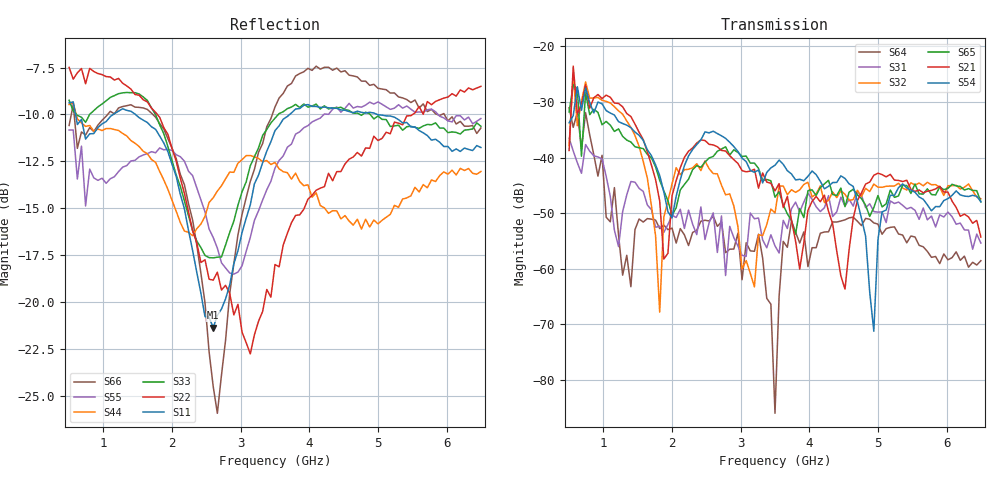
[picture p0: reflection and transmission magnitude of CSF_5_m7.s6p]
!Keysight Technologies,M9804A,MY58100912,A.14.10.03
!Date: Thursday, April 27, 2023 10:28:33
!Correction: S11(C  6-Port  )
!S12(C  6-Port  )
!S13(C  6-Port  )
!S14(C  6-Port  )
!S15(C  6-Port  )
!S16(C  6-Port  )
!S21(C  6-Port  )
!S22(C  6-Port  )
!S23(C  6-Port  )
!S24(C  6-Port  )
!S25(C  6-Port  )
!S26(C  6-Port  )
!S31(C  6-Port  )
!S32(C  6-Port  )
!S33(C  6-Port  )
!S34(C  6-Port  )
!S35(C  6-Port  )
!S36(C  6-Port  )
!S41(C  6-Port  )
!S42(C  6-Port  )
!S43(C  6-Port  )
!S44(C  6-Port  )
!S45(C  6-Port  )
!S46(C  6-Port  )
!S51(C  6-Port  )
!S52(C  6-Port  )
!S53(C  6-Port  )
!S54(C  6-Port  )
!S55(C  6-Port  )
!S56(C  6-Port  )
!S61(C  6-Port  )
!S62(C  6-Port  )
!S63(C  6-Port  )
!S64(C  6-Port  )
!S65(C  6-Port  )
!S66(C  6-Port  )
!S6P File: Measurement: :
# Hz S  RI  R 50
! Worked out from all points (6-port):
!   101 points, 500 MHz to 6.5 GHz, reference 50 ohm
!   strongest paths, dB at 500 MHz, 2 GHz, 3.5 GHz, 5 GHz, 6.5 GHz:
!     S54: -33.7, -50.9, -41.4, -54.8, -48.0
!     S21: -38.7, -46.9, -46.0, -42.8, -54.3
!     S65: -31.8, -50.4, -47.1, -46.8, -48.0
!     S32: -37.8, -44.7, -50.0, -45.3, -47.4
!     S31: -36.5, -50.4, -55.9, -49.8, -55.4
!     S64: -31.0, -52.7, -86.0, -52.0, -58.6
!   lowest |S11| = -21.4 dB at 2.6 GHz (marker M1), VSWR 1.19, Z = 42.4 + j2.29 ohm
!   |S11| at or under -10 dB: 593.1 MHz to 1.144 GHz (550.7 MHz wide, 63.4 % of centre); 1.466 GHz to 3.715 GHz (2.25 GHz wide, 86.8 % of centre); 4.987 GHz to end of sweep
